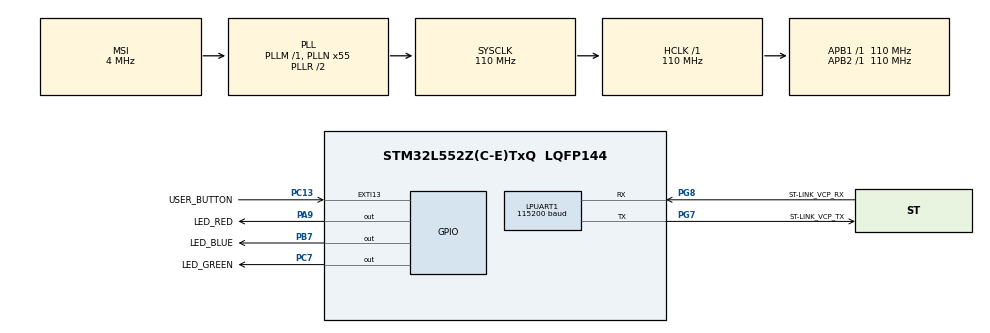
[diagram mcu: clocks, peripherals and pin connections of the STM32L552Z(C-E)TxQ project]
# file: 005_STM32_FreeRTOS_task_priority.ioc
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LPUART1.BaudRate=115200
Mcu.Family=STM32L5
Mcu.Name=STM32L552Z(C-E)TxQ
Mcu.Package=LQFP144
Mcu.TrustZone=disable
NVIC.EXTI13_IRQn=true\:0\:0\:false\:false\:false\:true\:true
NVIC.PriorityGroup=NVIC_PRIORITYGROUP_3
PA13\ (JTMS/SWDIO).Mode=Trace_Asynchronous_SW
PA13\ (JTMS/SWDIO).Signal=DEBUG_JTMS-SWDIO
PA14\ (JTCK/SWCLK).Mode=Trace_Asynchronous_SW
PA14\ (JTCK/SWCLK).Signal=DEBUG_JTCK-SWCLK
PA9.GPIO_Label=LED_RED
PA9.Signal=GPIO_Output
PB3\ (JTDO/TRACESWO).Mode=Trace_Asynchronous_SW
PB3\ (JTDO/TRACESWO).Signal=DEBUG_JTDO-SWO
PB7.GPIO_Label=LED_BLUE
PB7.Signal=GPIO_Output
PC13.GPIO_Label=USER_BUTTON
PC13.Signal=GPXTI13
PC14-OSC32_IN\ (PC14).Mode=LSE-External-Oscillator
PC14-OSC32_IN\ (PC14).Signal=RCC_OSC32_IN
PC15-OSC32_OUT\ (PC15).Mode=LSE-External-Oscillator
PC15-OSC32_OUT\ (PC15).Signal=RCC_OSC32_OUT
PC7.GPIO_Label=LED_GREEN
PC7.Signal=GPIO_Output
PG7.GPIO_Label=ST-LINK_VCP_TX
PG7.Mode=Asynchronous
PG7.Signal=LPUART1_TX
PG8.GPIO_Label=ST-LINK_VCP_RX
PG8.Mode=Asynchronous
PG8.Signal=LPUART1_RX
ProjectManager.HeapSize=0x200
ProjectManager.StackSize=0x400
ProjectManager.TargetToolchain=STM32CubeIDE
RCC.ADCCLockSelection=RCC_ADCCLKSOURCE_SYSCLK
RCC.ADCFreq_Value=110000000
RCC.AHBFreq_Value=110000000
RCC.APB1Freq_Value=110000000
RCC.APB1TimFreq_Value=110000000
RCC.APB2Freq_Value=110000000
RCC.APB2TimFreq_Value=110000000
RCC.CK48CLockSelection=RCC_USBCLKSOURCE_HSI48
RCC.CortexFreq_Value=110000000
RCC.HCLKFreq_Value=110000000
RCC.HSE_VALUE=8000000
RCC.HSI48_VALUE=48000000
RCC.HSI_VALUE=16000000
RCC.MSI_VALUE=4000000
RCC.PLLN=55
RCC.PLLSAI1N=24
RCC.RTCClockSelection=RCC_RTCCLKSOURCE_LSE
RCC.SYSCLKFreq_VALUE=110000000
RCC.SYSCLKSource=RCC_SYSCLKSOURCE_PLLCLK
RCC.USBFreq_Value=48000000
RCC.VCOOutputFreq_Value=220000000
VP_PWR_VS_SECSignals.Mode=Security/Privilege
board=NUCLEO-L552ZE-Q

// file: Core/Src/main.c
/* USER CODE BEGIN Header */
/**
 ******************************************************************************
 * @file           : main.c
 * @brief          : Example 005: Priorities in FreeRTOS tasks for NUCLEO-L552.
 *
 * @details TODO
 ******************************************************************************
 * @attention
 *
 * <h2><center>&copy; Copyright 2021 Leandro Medus.
 * All rights reserved.</center></h2>
 *
 * Permission is hereby granted, free of charge, to any person obtaining a copy
 * of this software and associated documentation files (the "Software"), to deal
 * in the Software without restriction, including without limitation the rights
 * to use, copy, modify, merge, publish, distribute, sublicense, and/or sell
 * copies of the Software, and to permit persons to whom the Software is
 * furnished to do so, subject to the following conditions:
 *
 * The above copyright notice and this permission notice shall be included in all
 * copies or substantial portions of the Software.
 *
 * THE SOFTWARE IS PROVIDED "AS IS", WITHOUT WARRANTY OF ANY KIND, EXPRESS OR
 * IMPLIED, INCLUDING BUT NOT LIMITED TO THE WARRANTIES OF MERCHANTABILITY,
 * FITNESS FOR A PARTICULAR PURPOSE AND NONINFRINGEMENT. IN NO EVENT SHALL THE
 * AUTHORS OR COPYRIGHT HOLDERS BE LIABLE FOR ANY CLAIM, DAMAGES OR OTHER
 * LIABILITY, WHETHER IN AN ACTION OF CONTRACT, TORT OR OTHERWISE, ARISING FROM,
 * OUT OF OR IN CONNECTION WITH THE SOFTWARE OR THE USE OR OTHER DEALINGS IN THE
 * SOFTWARE.
 *
 ******************************************************************************
 */

/*
 * Other useful functions:
 *
 *      SEGGER_SYSVIEW_PrintfTarget("Task-1 is yielding");
 *      snprintf(msg, 100, "%s\n", (char*)parameters);
 *      sendString(msg);
 *      traceISR_ENTER();
 *      traceISR_EXIT();
 *      traceISR_EXIT_TO_SCHEDULER();
 *      taskYIELD();

 * */

/* USER CODE END Header */
#include "main.h"

/* USER CODE BEGIN Includes */
#include "FreeRTOS.h"
#include "task.h"
#include <stdio.h>
#include <string.h>
#include <stdbool.h>
/* USER CODE END Includes */

/* USER CODE BEGIN PTD */
//#define TRUE                1
//#define FALSE               0

#define AVAILABLE           true
#define NOT_AVAILABLE       false

#define PRESSED             true
#define NOT_PRESSED         false

#define DEBOUNCE_DELAY_MS   10

#define DWT_CTRL    (*(volatile uint32_t*)0xE0001000)       /* Data Watchpoint and Trace Unit */
/* USER CODE END PTD */

UART_HandleTypeDef hlpuart1;

/* USER CODE BEGIN PV */
TaskHandle_t xTask_1_handle;
TaskHandle_t xTask_2_handle;
char usr_msg[250];

uint8_t UART_ACCESS_KEY = AVAILABLE;
uint8_t button_status_flag = NOT_PRESSED;

bool switch_priority = false;
/* USER CODE END PV */

void SystemClock_Config(void);
static void MX_GPIO_Init(void);
static void MX_LPUART1_UART_Init(void);
/* USER CODE BEGIN PFP */
void sendString(char *msg);
void rtos_delay_ms(uint32_t delay_in_ms);
void rtos_delay_us(uint32_t delay_in_us);

static void vtask_1_handler(void* parameters);
static void vtask_2_handler(void* parameters);
static void check_switch_priority(void);
/* USER CODE END PFP */

int main(void)
{
    /* USER CODE BEGIN 1 */
    BaseType_t status;

    char msg_program_init [] = "[info] ---- Example 005: Changin priorities in FreeRTOS tasks ----\r\n";

    /* USER CODE END 1 */

    /* MCU Configuration--------------------------------------------------------*/

    /* Reset of all peripherals, Initializes the Flash interface and the Systick. */
    HAL_Init();

    /* Configure the system clock */
    SystemClock_Config();

    /* Initialize all configured peripherals */
    MX_GPIO_Init();
    MX_LPUART1_UART_Init();
    /* USER CODE BEGIN 2 */

    DWT_CTRL |= ( 1 << 0);                  //Enable the CYCCNT counter. (to maintain time stamps in Segger)

    sendString(msg_program_init);

    SEGGER_SYSVIEW_Conf();

    SEGGER_SYSVIEW_Start();                 // Start recording with SEGGER

    status = xTaskCreate(
            vtask_1_handler,               // name of the task handler
            "TASK-1",                     // descriptive name. (Could be NULL)
            configMINIMAL_STACK_SIZE,       // stack space ([words] = 4*words [bytes])
            "LED-Task [info]",              // pvParameters
            2,                              // priority of the task
            &xTask_1_handle);             // handler to the TCB (task controller block)

    configASSERT(status == pdPASS);

    status = xTaskCreate(
            vtask_2_handler,
            "TASK-2",
            configMINIMAL_STACK_SIZE,
            "BUTTON-Task [info]",
            3,
            &xTask_2_handle);

    configASSERT(status == pdPASS);

    vTaskStartScheduler();                  // start the freeRTOS scheduler
    /* USER CODE END 2 */

    /* Infinite loop */
    while (1)
    {

    }
}

void SystemClock_Config(void)
{
    RCC_OscInitTypeDef RCC_OscInitStruct = {0};
    RCC_ClkInitTypeDef RCC_ClkInitStruct = {0};

    /** Configure the main internal regulator output voltage
     */
    if (HAL_PWREx_ControlVoltageScaling(PWR_REGULATOR_VOLTAGE_SCALE0) != HAL_OK)
    {
        Error_Handler();
    }
    /** Initializes the RCC Oscillators according to the specified parameters
     * in the RCC_OscInitTypeDef structure.
     */
    RCC_OscInitStruct.OscillatorType = RCC_OSCILLATORTYPE_MSI;
    RCC_OscInitStruct.MSIState = RCC_MSI_ON;
    RCC_OscInitStruct.MSICalibrationValue = RCC_MSICALIBRATION_DEFAULT;
    RCC_OscInitStruct.MSIClockRange = RCC_MSIRANGE_6;
    RCC_OscInitStruct.PLL.PLLState = RCC_PLL_ON;
    RCC_OscInitStruct.PLL.PLLSource = RCC_PLLSOURCE_MSI;
    RCC_OscInitStruct.PLL.PLLM = 1;
    RCC_OscInitStruct.PLL.PLLN = 55;
    RCC_OscInitStruct.PLL.PLLP = RCC_PLLP_DIV7;
    RCC_OscInitStruct.PLL.PLLQ = RCC_PLLQ_DIV2;
    RCC_OscInitStruct.PLL.PLLR = RCC_PLLR_DIV2;
    if (HAL_RCC_OscConfig(&RCC_OscInitStruct) != HAL_OK)
    {
        Error_Handler();
    }
    /** Initializes the CPU, AHB and APB buses clocks
     */
    RCC_ClkInitStruct.ClockType = RCC_CLOCKTYPE_HCLK|RCC_CLOCKTYPE_SYSCLK
            |RCC_CLOCKTYPE_PCLK1|RCC_CLOCKTYPE_PCLK2;
    RCC_ClkInitStruct.SYSCLKSource = RCC_SYSCLKSOURCE_PLLCLK;
    RCC_ClkInitStruct.AHBCLKDivider = RCC_SYSCLK_DIV1;
    RCC_ClkInitStruct.APB1CLKDivider = RCC_HCLK_DIV1;
    RCC_ClkInitStruct.APB2CLKDivider = RCC_HCLK_DIV1;

    if (HAL_RCC_ClockConfig(&RCC_ClkInitStruct, FLASH_LATENCY_5) != HAL_OK)
    {
        Error_Handler();
    }
}

static void MX_LPUART1_UART_Init(void)
{

    hlpuart1.Instance = LPUART1;
    hlpuart1.Init.BaudRate = 115200;
    hlpuart1.Init.WordLength = UART_WORDLENGTH_8B;
    hlpuart1.Init.StopBits = UART_STOPBITS_1;
    hlpuart1.Init.Parity = UART_PARITY_NONE;
    hlpuart1.Init.Mode = UART_MODE_TX_RX;
    hlpuart1.Init.HwFlowCtl = UART_HWCONTROL_NONE;
    hlpuart1.Init.OneBitSampling = UART_ONE_BIT_SAMPLE_DISABLE;
    hlpuart1.Init.ClockPrescaler = UART_PRESCALER_DIV1;
    hlpuart1.AdvancedInit.AdvFeatureInit = UART_ADVFEATURE_NO_INIT;
    hlpuart1.FifoMode = UART_FIFOMODE_DISABLE;
    if (HAL_UART_Init(&hlpuart1) != HAL_OK)
    {
        Error_Handler();
    }
    if (HAL_UARTEx_SetTxFifoThreshold(&hlpuart1, UART_TXFIFO_THRESHOLD_1_8) != HAL_OK)
    {
        Error_Handler();
    }
    if (HAL_UARTEx_SetRxFifoThreshold(&hlpuart1, UART_RXFIFO_THRESHOLD_1_8) != HAL_OK)
    {
        Error_Handler();
    }
    if (HAL_UARTEx_DisableFifoMode(&hlpuart1) != HAL_OK)
    {
        Error_Handler();
    }

}

static void MX_GPIO_Init(void)
{
    GPIO_InitTypeDef GPIO_InitStruct = {0};

    /* GPIO Ports Clock Enable */
    __HAL_RCC_GPIOC_CLK_ENABLE();
    __HAL_RCC_GPIOG_CLK_ENABLE();
    HAL_PWREx_EnableVddIO2();
    __HAL_RCC_GPIOA_CLK_ENABLE();
    __HAL_RCC_GPIOB_CLK_ENABLE();

    /*Configure GPIO pin Output Level */
    HAL_GPIO_WritePin(LED_GREEN_GPIO_Port, LED_GREEN_Pin, GPIO_PIN_RESET);

    /*Configure GPIO pin Output Level */
    HAL_GPIO_WritePin(LED_RED_GPIO_Port, LED_RED_Pin, GPIO_PIN_RESET);

    /*Configure GPIO pin Output Level */
    HAL_GPIO_WritePin(LED_BLUE_GPIO_Port, LED_BLUE_Pin, GPIO_PIN_RESET);

    /*Configure GPIO pin : USER_BUTTON_Pin */
    GPIO_InitStruct.Pin = USER_BUTTON_Pin;
    GPIO_InitStruct.Mode = GPIO_MODE_IT_RISING;
    GPIO_InitStruct.Pull = GPIO_NOPULL;
    HAL_GPIO_Init(USER_BUTTON_GPIO_Port, &GPIO_InitStruct);

    /*Configure GPIO pin : LED_GREEN_Pin */
    GPIO_InitStruct.Pin = LED_GREEN_Pin;
    GPIO_InitStruct.Mode = GPIO_MODE_OUTPUT_PP;
    GPIO_InitStruct.Pull = GPIO_NOPULL;
    GPIO_InitStruct.Speed = GPIO_SPEED_FREQ_LOW;
    HAL_GPIO_Init(LED_GREEN_GPIO_Port, &GPIO_InitStruct);

    /*Configure GPIO pin : LED_RED_Pin */
    GPIO_InitStruct.Pin = LED_RED_Pin;
    GPIO_InitStruct.Mode = GPIO_MODE_OUTPUT_PP;
    GPIO_InitStruct.Pull = GPIO_NOPULL;
    GPIO_InitStruct.Speed = GPIO_SPEED_FREQ_LOW;
    HAL_GPIO_Init(LED_RED_GPIO_Port, &GPIO_InitStruct);

    /*Configure GPIO pin : LED_BLUE_Pin */
    GPIO_InitStruct.Pin = LED_BLUE_Pin;
    GPIO_InitStruct.Mode = GPIO_MODE_OUTPUT_PP;
    GPIO_InitStruct.Pull = GPIO_NOPULL;
    GPIO_InitStruct.Speed = GPIO_SPEED_FREQ_LOW;
    HAL_GPIO_Init(LED_BLUE_GPIO_Port, &GPIO_InitStruct);

    /* EXTI interrupt init*/
    HAL_NVIC_SetPriority(EXTI13_IRQn, 0, 0);
    HAL_NVIC_EnableIRQ(EXTI13_IRQn);

}

/* USER CODE BEGIN 4 */

/* --------------------------------------------------------------------------*/

/**
 * @brief  This function send a string using the UART
 * @retval None
 */
void sendString(char *msg)
{
    sprintf(usr_msg, msg);

    // sending a string
    HAL_UART_Transmit(&hlpuart1, (uint8_t *) usr_msg, strlen(usr_msg), 100);
}

/**
 * @brief  FreeRTOS task: Task-1 (blink 4 Hz)
 * @details Task-1 toggles led state every 125 ms.
 *
 * @retval None
 */
static void vtask_1_handler(void* parameters)
{

    sprintf(usr_msg,"Task-1 is running.\r\n");
    sendString(usr_msg);

    sprintf(usr_msg,"Task-1 priority %ld.\r\n", uxTaskPriorityGet(xTask_1_handle));
    sendString(usr_msg);

    sprintf(usr_msg,"Task-2 priority %ld.\r\n", uxTaskPriorityGet(xTask_2_handle));
    sendString(usr_msg);

    while(1)
    {
        check_switch_priority();

        rtos_delay_ms(125);     // blocking
        HAL_GPIO_TogglePin(LED_GREEN_GPIO_Port, LED_GREEN_Pin);
    }
}

/**
 * @brief  FreeRTOS task: Task-2 (blink 1 Hz)
 * @details Task-2 toggles led state every 500 ms.
 *
 * @retval None
 */
static void vtask_2_handler(void* parameters)
{
    sprintf(usr_msg,"Task-2 is running.\r\n");
    sendString(usr_msg);

    sprintf(usr_msg,"Task-1 priority %ld.\r\n", uxTaskPriorityGet(xTask_1_handle));
    sendString(usr_msg);

    sprintf(usr_msg,"Task-2 priority %ld.\r\n", uxTaskPriorityGet(xTask_2_handle));
    sendString(usr_msg);

    while(1)
    {

        check_switch_priority();

        rtos_delay_ms(500); // blocking
        HAL_GPIO_TogglePin(LED_GREEN_GPIO_Port, LED_GREEN_Pin);
    }
}

static void check_switch_priority(void)
{
    UBaseType_t p1, p2;
    TaskHandle_t t1, t2;

    if(switch_priority == true)
    {
        t1 = xTaskGetHandle("TASK-1");
        t2 = xTaskGetHandle("TASK-2");

        p1 = uxTaskPriorityGet(t1);
        p2 = uxTaskPriorityGet(t2);

        portENTER_CRITICAL();
        vTaskPrioritySet(t2, p1);
        vTaskPrioritySet(t1, p2);

        switch_priority = false;
        portEXIT_CRITICAL();
    }

}

void rtos_delay_ms(uint32_t delay_in_ms)
{
    uint32_t current_tick_count = xTaskGetTickCount();

    uint32_t delay_in_ticks = (delay_in_ms * configTICK_RATE_HZ ) /1000 ;

    while(xTaskGetTickCount() <  (current_tick_count + delay_in_ticks))
    {
        check_switch_priority();
    }

}

void rtos_delay_us(uint32_t delay_in_us)
{
    uint32_t current_tick_count = xTaskGetTickCount();

    uint32_t delay_in_ticks = (delay_in_us * configTICK_RATE_HZ ) ;

    while(xTaskGetTickCount() <  (current_tick_count + delay_in_ticks));

}

/* --------------------------------------------------------------------------*/
/* USER CODE END 4 */

void Error_Handler(void)
{
    __disable_irq();
    while (1)
    {
    }
}

/************************ (C) COPYRIGHT STMicroelectronics *****END OF FILE****/
